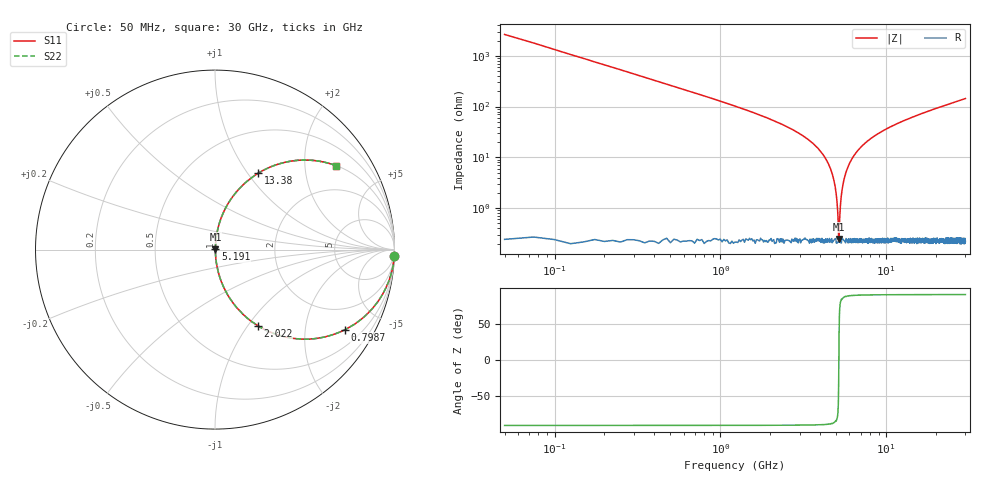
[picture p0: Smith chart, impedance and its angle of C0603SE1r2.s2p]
!	AVX Thin Film Operation 	Date: April 2014
!	Description: Accu-P® Series, Thin Film  SMD RF Capacitor
!	Part Number: 06031J1R2PBSTR
# MHZ S MA R 50
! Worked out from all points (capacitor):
!   1201 points, 50 MHz to 30 GHz, reference 50 ohm
!   read as one part in series: C = 1.2 pF near 199.8 MHz
!   lowest |Z| = 248 mohm at 5.191 GHz (marker M1)
!   series resonance near 5.179 GHz, so ESL is about 790 pH
!   S11 on the Smith chart (normalised r, x): 50 MHz: 1, -53; 798.8 MHz: 1.00, -3.24; 2.022 GHz: 1.00, -1.11; 5.191 GHz: 1.00, +0.00; 13.38 GHz: 1.01, +1.12; 30 GHz: 1.00, +2.88
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50  0.999 -2.2  0.038 87.8  0.038 87.8  0.999 -2.2
349.5  0.967 -14.8  0.256 75.1  0.256 75.1  0.967 -14.8
798.75  0.851 -31.6  0.525 58.3  0.525 58.3  0.851 -31.6
1297.917  0.691 -46.2  0.721 43.7  0.721 43.7  0.691 -46.2
2021.708  0.485 -60.7  0.872 29.0  0.872 29.0  0.485 -60.7
3419.375  0.213 -77.1  0.975 12.3  0.975 12.3  0.213 -77.1
4317.875  0.093 -83.3  0.993 5.3  0.993 5.3  0.093 -83.3
4792.083  0.04 -84.4  0.997 2.3  0.997 2.3  0.04 -84.4
4941.833  0.024 -83.2  0.997 1.4  0.997 1.4  0.024 -83.2
5041.667  0.014 -79.7  0.998 0.8  0.998 0.8  0.014 -79.7
5191.417  0.002603 28.1  0.998 -0.1  0.998 -0.1  0.002603 28.1
5291.25  0.011 77.5  0.998 -0.6  0.998 -0.6  0.011 77.5
5465.958  0.028 83.7  0.997 -1.6  0.997 -1.6  0.028 83.7
5615.708  0.041 84.5  0.997 -2.4  0.997 -2.4  0.041 84.5
6314.542  0.101 82.9  0.993 -5.8  0.993 -5.8  0.101 82.9
7687.25  0.203 77.7  0.977 -11.7  0.977 -11.7  0.203 77.7
10058.29  0.343 69.6  0.937 -20.0  0.937 -20.0  0.343 69.6
13377.75  0.489 60.5  0.87 -29.3  0.87 -29.3  0.489 60.5
15025  0.547 56.6  0.835 -33.2  0.835 -33.2  0.547 56.6
20016.67  0.678 47.2  0.734 -42.7  0.734 -42.7  0.678 47.2
25033.29  0.763 40.1  0.644 -49.8  0.644 -49.8  0.763 40.1
30000  0.821 34.8  0.57 -55.1  0.57 -55.1  0.821 34.8
